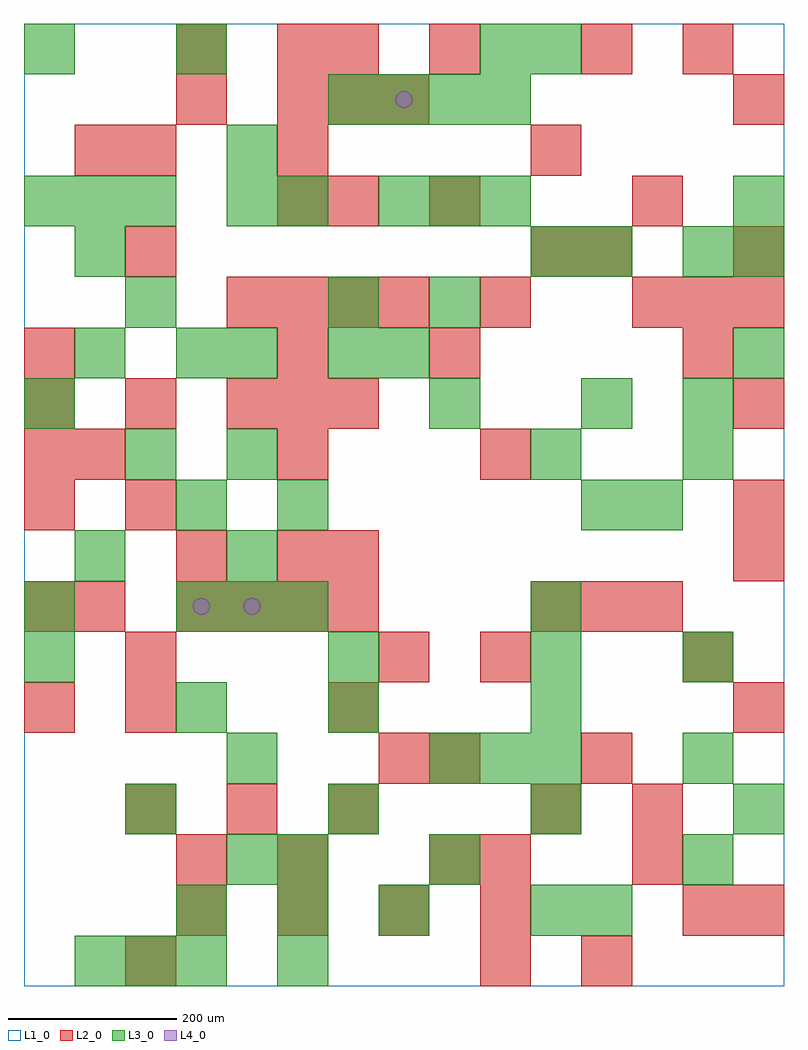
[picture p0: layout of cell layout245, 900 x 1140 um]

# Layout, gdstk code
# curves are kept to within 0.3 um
import gdstk
lib = gdstk.Library(unit=1e-6, precision=1e-09)
def R(c, l, rs):  # rectangles x0, y0, x1, y1
    for r in rs: c.add(gdstk.rectangle(r[:2], r[2:], *l))
def A(c, l, x, y, w, h, nx, ny, dx, dy):  # array of equal rectangles
    R(c, l, [(x+i*dx, y+j*dy, x+i*dx+w, y+j*dy+h) for i in range(nx) for j in range(ny)])
def P(c, l, *ps):  # polygons
    for p in ps: c.add(gdstk.Polygon(p, *l))
L1_0 = (1, 0)
L2_0 = (2, 0)
L3_0 = (3, 0)
L4_0 = (4, 0)

layout245 = lib.new_cell('layout245')
R(layout245, L1_0, [(0,0,900,1140)])
A(layout245, L2_0, 180, 60, 60, 60, 4, 1, 120, 0)
A(layout245, L2_0, 120, 180, 60, 60, 3, 1, 120, 0)
A(layout245, L2_0, 0, 300, 60, 60, 1, 3, 0, 120)
A(layout245, L2_0, 360, 300, 60, 60, 1, 3, 0, 180)
A(layout245, L2_0, 780, 360, 60, 60, 1, 3, 0, 360)
A(layout245, L2_0, 180, 420, 60, 60, 4, 1, 60, 0)
A(layout245, L2_0, 600, 420, 60, 60, 3, 1, 60, 0)
A(layout245, L2_0, 60, 600, 60, 60, 3, 1, 240, 0)
A(layout245, L2_0, 0, 660, 60, 60, 3, 1, 120, 0)
A(layout245, L2_0, 840, 660, 60, 60, 1, 3, 0, 180)
A(layout245, L2_0, 480, 720, 60, 60, 1, 3, 0, 180)
A(layout245, L2_0, 240, 780, 60, 60, 4, 1, 60, 0)
A(layout245, L2_0, 720, 780, 60, 60, 3, 1, 60, 0)
A(layout245, L2_0, 300, 1020, 60, 60, 3, 1, 60, 0)
R(layout245, L2_0, [(120,0,180,60), (540,0,600,60), (660,0,720,60), (780,60,840,120), (840,60,900,120), (180,120,240,180), (300,120,360,180), (480,120,540,180), (540,120,600,180), (720,120,780,180), (600,180,660,240), (720,180,780,240), (420,240,480,300), (480,240,540,300), (660,240,720,300), (120,300,180,360), (840,300,900,360), (120,360,180,420), (420,360,480,420), (540,360,600,420), (60,420,120,480), (180,480,240,540), (300,480,360,540), (840,480,900,540), (120,540,180,600), (840,540,900,600), (0,600,60,660), (300,660,360,720), (0,720,60,780), (300,720,360,780), (540,780,600,840), (120,840,180,900), (600,840,660,900), (660,840,720,900), (300,900,360,960), (360,900,420,960), (720,900,780,960), (60,960,120,1020), (120,960,180,1020), (300,960,360,1020), (600,960,660,1020), (180,1020,240,1080), (180,1080,240,1140), (300,1080,360,1140), (360,1080,420,1140), (660,1080,720,1140)])
A(layout245, L3_0, 60, 0, 60, 60, 3, 1, 60, 0)
A(layout245, L3_0, 180, 60, 60, 60, 3, 1, 120, 0)
A(layout245, L3_0, 780, 120, 60, 60, 1, 3, 0, 120)
A(layout245, L3_0, 120, 180, 60, 60, 4, 1, 240, 0)
A(layout245, L3_0, 480, 240, 60, 60, 3, 1, 60, 0)
A(layout245, L3_0, 600, 300, 60, 60, 1, 3, 0, 60)
A(layout245, L3_0, 180, 420, 60, 60, 3, 1, 60, 0)
A(layout245, L3_0, 240, 480, 60, 60, 1, 3, 0, 120)
A(layout245, L3_0, 600, 600, 60, 60, 1, 3, 0, 240)
A(layout245, L3_0, 0, 900, 60, 60, 3, 1, 60, 0)
A(layout245, L3_0, 420, 900, 60, 60, 3, 1, 60, 0)
A(layout245, L3_0, 360, 1020, 60, 60, 4, 1, 60, 0)
R(layout245, L3_0, [(300,0,360,60), (600,60,660,120), (660,60,720,120), (240,120,300,180), (300,120,360,180), (480,120,540,180), (240,240,300,300), (180,300,240,360), (360,300,420,360), (0,360,60,420), (360,360,420,420), (0,420,60,480), (60,480,120,540), (180,540,240,600), (300,540,360,600), (660,540,720,600), (720,540,780,600), (120,600,180,660), (780,600,840,660), (0,660,60,720), (480,660,540,720), (660,660,720,720), (780,660,840,720), (60,720,120,780), (180,720,240,780), (360,720,420,780), (420,720,480,780), (840,720,900,780), (120,780,180,840), (360,780,420,840), (480,780,540,840), (60,840,120,900), (660,840,720,900), (780,840,840,900), (840,840,900,900), (240,900,300,960), (300,900,360,960), (840,900,900,960), (240,960,300,1020), (0,1080,60,1140), (180,1080,240,1140), (540,1080,600,1140)])
P(layout245, L4_0, [(220,450),(219.239,453.827),(217.071,457.071),(213.827,459.239),(210,460),(206.173,459.239),(202.929,457.071),(200.761,453.827),(200,450),(200.761,446.173),(202.929,442.929),(206.173,440.761),(210,440),(213.827,440.761),(217.071,442.929),(219.239,446.173)],
  [(280,450),(279.239,453.827),(277.071,457.071),(273.827,459.239),(270,460),(266.173,459.239),(262.929,457.071),(260.761,453.827),(260,450),(260.761,446.173),(262.929,442.929),(266.173,440.761),(270,440),(273.827,440.761),(277.071,442.929),(279.239,446.173)],
  [(460,1050),(459.239,1053.827),(457.071,1057.071),(453.827,1059.239),(450,1060),(446.173,1059.239),(442.929,1057.071),(440.761,1053.827),(440,1050),(440.761,1046.173),(442.929,1042.929),(446.173,1040.761),(450,1040),(453.827,1040.761),(457.071,1042.929),(459.239,1046.173)])

lib.write_gds('layout245.gds')
